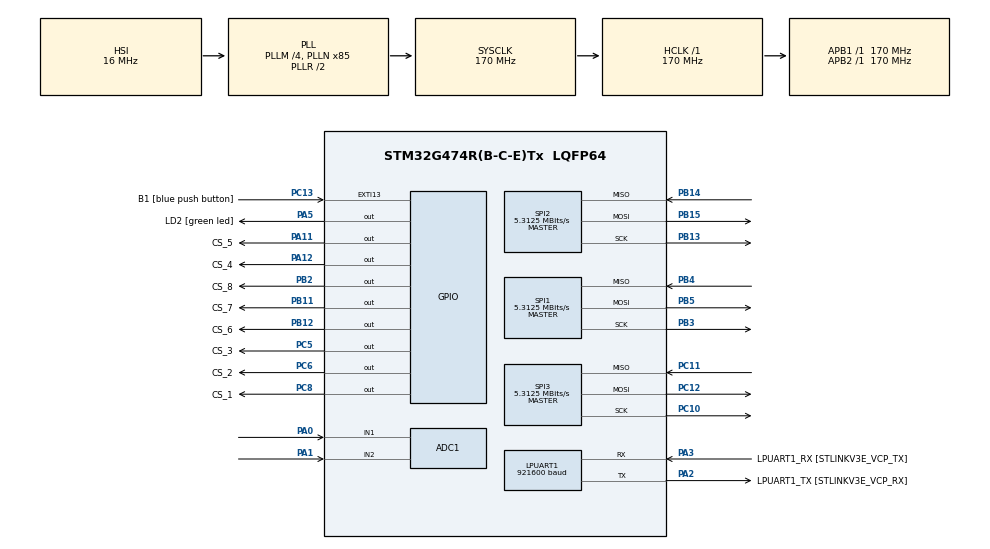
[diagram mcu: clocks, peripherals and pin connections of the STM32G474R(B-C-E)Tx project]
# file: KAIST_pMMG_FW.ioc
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ADC1.Channel-0\#ChannelRegularConversion=ADC_CHANNEL_1
ADC1.Channel-1\#ChannelRegularConversion=ADC_CHANNEL_2
ADC1.ClockPrescaler=ADC_CLOCK_ASYNC_DIV4
ADC1.ContinuousConvMode=ENABLE
ADC1.DMAContinuousRequests=ENABLE
ADC1.EOCSelection=ADC_EOC_SEQ_CONV
ADC1.NbrOfConversion=2
ADC1.NbrOfConversionFlag=1
ADC1.OffsetNumber-0\#ChannelRegularConversion=ADC_OFFSET_NONE
ADC1.OffsetNumber-1\#ChannelRegularConversion=ADC_OFFSET_NONE
ADC1.Rank-0\#ChannelRegularConversion=1
ADC1.Rank-1\#ChannelRegularConversion=2
ADC1.SamplingTime-0\#ChannelRegularConversion=ADC_SAMPLETIME_92CYCLES_5
ADC1.SamplingTime-1\#ChannelRegularConversion=ADC_SAMPLETIME_92CYCLES_5
ADC1.master=1
Dma.ADC1.0.Direction=DMA_PERIPH_TO_MEMORY
Dma.ADC1.0.EventEnable=DISABLE
Dma.ADC1.0.Instance=DMA1_Channel1
Dma.ADC1.0.MemDataAlignment=DMA_MDATAALIGN_HALFWORD
Dma.ADC1.0.MemInc=DMA_MINC_ENABLE
Dma.ADC1.0.Mode=DMA_CIRCULAR
Dma.ADC1.0.PeriphDataAlignment=DMA_PDATAALIGN_HALFWORD
Dma.ADC1.0.PeriphInc=DMA_PINC_DISABLE
Dma.ADC1.0.Polarity=HAL_DMAMUX_REQ_GEN_RISING
Dma.ADC1.0.Priority=DMA_PRIORITY_LOW
Dma.ADC1.0.RequestNumber=1
Dma.ADC1.0.SignalID=NONE
Dma.ADC1.0.SyncEnable=DISABLE
Dma.ADC1.0.SyncPolarity=HAL_DMAMUX_SYNC_NO_EVENT
Dma.ADC1.0.SyncRequestNumber=1
Dma.ADC1.0.SyncSignalID=NONE
Dma.LPUART1_TX.1.Direction=DMA_MEMORY_TO_PERIPH
Dma.LPUART1_TX.1.EventEnable=DISABLE
Dma.LPUART1_TX.1.Instance=DMA1_Channel2
Dma.LPUART1_TX.1.MemDataAlignment=DMA_MDATAALIGN_BYTE
Dma.LPUART1_TX.1.MemInc=DMA_MINC_ENABLE
Dma.LPUART1_TX.1.Mode=DMA_NORMAL
Dma.LPUART1_TX.1.PeriphDataAlignment=DMA_PDATAALIGN_BYTE
Dma.LPUART1_TX.1.PeriphInc=DMA_PINC_DISABLE
Dma.LPUART1_TX.1.Polarity=HAL_DMAMUX_REQ_GEN_RISING
Dma.LPUART1_TX.1.Priority=DMA_PRIORITY_LOW
Dma.LPUART1_TX.1.RequestNumber=1
Dma.LPUART1_TX.1.SignalID=NONE
Dma.LPUART1_TX.1.SyncEnable=DISABLE
Dma.LPUART1_TX.1.SyncPolarity=HAL_DMAMUX_SYNC_NO_EVENT
Dma.LPUART1_TX.1.SyncRequestNumber=1
Dma.LPUART1_TX.1.SyncSignalID=NONE
Dma.Request0=ADC1
Dma.Request1=LPUART1_TX
LPUART1.BaudRate=921600
LPUART1.FIFOMode=UART_FIFOMODE_DISABLE
LPUART1.Mode=UART_MODE_TX
LPUART1.WordLength=UART_WORDLENGTH_8B
Mcu.Family=STM32G4
Mcu.Name=STM32G474R(B-C-E)Tx
Mcu.Package=LQFP64
NVIC.DMA1_Channel1_IRQn=true\:0\:0\:false\:false\:true\:false\:true\:true
NVIC.DMA1_Channel2_IRQn=true\:0\:0\:false\:false\:true\:false\:true\:true
NVIC.EXTI15_10_IRQn=true\:0\:0\:false\:false\:true\:true\:true\:true
NVIC.LPUART1_IRQn=true\:0\:0\:false\:false\:true\:true\:true\:true
NVIC.PriorityGroup=NVIC_PRIORITYGROUP_4
NVIC.SPI1_IRQn=true\:0\:0\:false\:false\:true\:true\:true\:true
NVIC.SPI2_IRQn=true\:0\:0\:false\:false\:true\:true\:true\:true
NVIC.SPI3_IRQn=true\:0\:0\:false\:false\:true\:true\:true\:true
NVIC.TIM3_IRQn=true\:0\:0\:false\:false\:true\:true\:true\:true
PA0.Mode=IN1-Single-Ended
PA0.Signal=ADC1_IN1
PA1.Mode=IN2-Single-Ended
PA1.Signal=ADC1_IN2
PA11.GPIO_Label=CS_5
PA11.GPIO_PuPd=GPIO_PULLUP
PA11.GPIO_Speed=GPIO_SPEED_FREQ_HIGH
PA11.PinState=GPIO_PIN_SET
PA11.Signal=GPIO_Output
PA12.GPIO_Label=CS_4
PA12.GPIO_PuPd=GPIO_PULLUP
PA12.GPIO_Speed=GPIO_SPEED_FREQ_HIGH
PA12.PinState=GPIO_PIN_SET
PA12.Signal=GPIO_Output
PA13.GPIO_Label=T_SWDIO
PA13.Mode=Serial_Wire
PA13.Signal=SYS_JTMS-SWDIO
PA14.GPIO_Label=T_SWCLK
PA14.Mode=Serial_Wire
PA14.Signal=SYS_JTCK-SWCLK
PA2.GPIO_Label=LPUART1_TX [STLINKV3E_VCP_RX]
PA2.GPIO_Speed=GPIO_SPEED_FREQ_VERY_HIGH
PA2.Mode=Asynchronous
PA2.Signal=LPUART1_TX
PA3.GPIO_Label=LPUART1_RX [STLINKV3E_VCP_TX]
PA3.Mode=Asynchronous
PA3.Signal=LPUART1_RX
PA5.GPIO_Label=LD2 [green led]
PA5.Signal=GPIO_Output
PB11.GPIO_Label=CS_7
PB11.GPIO_PuPd=GPIO_PULLUP
PB11.GPIO_Speed=GPIO_SPEED_FREQ_HIGH
PB11.PinState=GPIO_PIN_SET
PB11.Signal=GPIO_Output
PB12.GPIO_Label=CS_6
PB12.GPIO_PuPd=GPIO_PULLUP
PB12.GPIO_Speed=GPIO_SPEED_FREQ_HIGH
PB12.PinState=GPIO_PIN_SET
PB12.Signal=GPIO_Output
PB13.Mode=Full_Duplex_Master
PB13.Signal=SPI2_SCK
PB14.Mode=Full_Duplex_Master
PB14.Signal=SPI2_MISO
PB15.Mode=Full_Duplex_Master
PB15.Signal=SPI2_MOSI
PB2.GPIO_Label=CS_8
PB2.GPIO_PuPd=GPIO_PULLUP
PB2.GPIO_Speed=GPIO_SPEED_FREQ_HIGH
PB2.PinState=GPIO_PIN_SET
PB2.Signal=GPIO_Output
PB3.Mode=Full_Duplex_Master
PB3.Signal=SPI1_SCK
PB4.Mode=Full_Duplex_Master
PB4.Signal=SPI1_MISO
PB5.Mode=Full_Duplex_Master
PB5.Signal=SPI1_MOSI
PC10.Mode=Full_Duplex_Master
PC10.Signal=SPI3_SCK
PC11.Mode=Full_Duplex_Master
PC11.Signal=SPI3_MISO
PC12.Mode=Full_Duplex_Master
PC12.Signal=SPI3_MOSI
PC13.GPIO_Label=B1 [blue push button]
PC13.Signal=GPXTI13
PC14-OSC32_IN.Mode=LSE-External-Oscillator
PC14-OSC32_IN.Signal=RCC_OSC32_IN
PC15-OSC32_OUT.Mode=LSE-External-Oscillator
PC15-OSC32_OUT.Signal=RCC_OSC32_OUT
PC5.GPIO_Label=CS_3
PC5.GPIO_PuPd=GPIO_PULLUP
PC5.GPIO_Speed=GPIO_SPEED_FREQ_HIGH
PC5.PinState=GPIO_PIN_SET
PC5.Signal=GPIO_Output
PC6.GPIO_Label=CS_2
PC6.GPIO_PuPd=GPIO_PULLUP
PC6.GPIO_Speed=GPIO_SPEED_FREQ_HIGH
PC6.PinState=GPIO_PIN_SET
PC6.Signal=GPIO_Output
PC8.GPIO_Label=CS_1
PC8.GPIO_PuPd=GPIO_PULLUP
PC8.GPIO_Speed=GPIO_SPEED_FREQ_HIGH
PC8.PinState=GPIO_PIN_SET
PC8.Signal=GPIO_Output
PF0-OSC_IN.Mode=HSE-External-Oscillator
PF0-OSC_IN.Signal=RCC_OSC_IN
PF1-OSC_OUT.Mode=HSE-External-Oscillator
PF1-OSC_OUT.Signal=RCC_OSC_OUT
ProjectManager.HeapSize=0x200
ProjectManager.StackSize=0x400
ProjectManager.TargetToolchain=STM32CubeIDE
RCC.ADC12Freq_Value=170000000
RCC.ADC345Freq_Value=170000000
RCC.AHBFreq_Value=170000000
RCC.APB1Freq_Value=170000000
RCC.APB1TimFreq_Value=170000000
RCC.APB2Freq_Value=170000000
RCC.APB2TimFreq_Value=170000000
RCC.CortexFreq_Value=170000000
RCC.EXTERNAL_CLOCK_VALUE=12288000
RCC.HCLKFreq_Value=170000000
RCC.HSE_VALUE=24000000
RCC.HSI48_VALUE=48000000
RCC.HSI_VALUE=16000000
RCC.PLLM=RCC_PLLM_DIV4
RCC.PLLN=85
RCC.RTCClockSelection=RCC_RTCCLKSOURCE_LSE
RCC.SYSCLKFreq_VALUE=170000000
RCC.SYSCLKSource=RCC_SYSCLKSOURCE_PLLCLK
RCC.USBFreq_Value=170000000
RCC.VCOOutputFreq_Value=340000000
SPI1.BaudRatePrescaler=SPI_BAUDRATEPRESCALER_32
SPI1.CalculateBaudRate=5.3125 MBits/s
SPI1.DataSize=SPI_DATASIZE_8BIT
SPI1.Direction=SPI_DIRECTION_2LINES
SPI1.Mode=SPI_MODE_MASTER
SPI1.VirtualType=VM_MASTER
SPI2.BaudRatePrescaler=SPI_BAUDRATEPRESCALER_32
SPI2.CalculateBaudRate=5.3125 MBits/s
SPI2.DataSize=SPI_DATASIZE_8BIT
SPI2.Direction=SPI_DIRECTION_2LINES
SPI2.Mode=SPI_MODE_MASTER
SPI2.VirtualType=VM_MASTER
SPI3.BaudRatePrescaler=SPI_BAUDRATEPRESCALER_32
SPI3.CalculateBaudRate=5.3125 MBits/s
SPI3.DataSize=SPI_DATASIZE_8BIT
SPI3.Direction=SPI_DIRECTION_2LINES
SPI3.Mode=SPI_MODE_MASTER
SPI3.VirtualType=VM_MASTER
TIM3.AutoReloadPreload=TIM_AUTORELOAD_PRELOAD_ENABLE
TIM3.PeriodNoDither=5000-1
TIM3.Prescaler=170-1
VP_SYS_VS_DBSignals.Mode=DisableDeadBatterySignals
VP_TIM3_VS_ClockSourceINT.Mode=Internal
board=NUCLEO-G474RE

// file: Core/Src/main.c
/* USER CODE BEGIN Header */
/**
  ******************************************************************************
  * @file           : main.c
  * @brief          : Main program body
  ******************************************************************************
  * @attention
  *
  * Copyright (c) 2024 STMicroelectronics.
  * All rights reserved.
  *
  * This software is licensed under terms that can be found in the LICENSE file
  * in the root directory of this software component.
  * If no LICENSE file comes with this software, it is provided AS-IS.
  *
  ******************************************************************************
  */
/* USER CODE END Header */
#include "main.h"
#include "adc.h"
#include "dma.h"
#include "usart.h"
#include "spi.h"
#include "tim.h"
#include "gpio.h"

/* USER CODE BEGIN Includes */
#include <stdio.h>
#include <string.h>

#include "pMMG.h"
/* USER CODE END Includes */

/* USER CODE BEGIN PTD */
typedef struct _pMMG_pressure_t {
	double pMMG1_press;
	double pMMG2_press;
	double pMMG3_press;
	double pMMG4_press;
	double pMMG5_press;
	double pMMG6_press;
	double pMMG7_press;
	double pMMG8_press;
} pMMG_pressure_t;

typedef struct _pMMG_temperature_t {
	double pMMG1_temp;
	double pMMG2_temp;
	double pMMG3_temp;
	double pMMG4_temp;
	double pMMG5_temp;
	double pMMG6_temp;
	double pMMG7_temp;
	double pMMG8_temp;
} pMMG_temperature_t;

typedef struct _pMMG_err_t {
	uint32_t err1;
	uint32_t err2;
	uint32_t err3;
	uint32_t err4;
	uint32_t err5;
	uint32_t err6;
	uint32_t err7;
	uint32_t err8;
	uint32_t totalErr;
} pMMG_err_t;

typedef struct _pMMG_t {
	pMMG_pressure_t pMMG_press;
	pMMG_temperature_t pMMG_temp;
	pMMG_err_t pMMG_err;
} pMMG_t;

/* USER CODE END PTD */

/* USER CODE BEGIN PV */

/* SPI1 port */
pMMG_Obj_t pMMGObj1;
pMMG_Obj_t pMMGObj2;
pMMG_Obj_t pMMGObj3;
uint8_t state1 = 0;
uint8_t state2 = 0;
uint8_t state3 = 0;

/* SPI2 port */
pMMG_Obj_t pMMGObj4;
pMMG_Obj_t pMMGObj5;
pMMG_Obj_t pMMGObj6;
uint8_t state4 = 0;
uint8_t state5 = 0;
uint8_t state6 = 0;

/* SPI3 port */
pMMG_Obj_t pMMGObj7;
pMMG_Obj_t pMMGObj8;
uint8_t state7 = 0;
uint8_t state8 = 0;

/* Total pMMG Obj */
pMMG_t totalpMMG;

/* FSR DMA memory */
uint16_t FSRvalue[2] = {0};		// 0: PA0, 1: PA1
uint16_t FSR_L = 0; 			// 0: PA0
uint16_t FSR_R = 0;				// 1: PA1

/* For UART Transmit */
uint8_t uartTxBuf[100];
uint8_t uartBufSize = 0;
char splitString[2] = ",";
char newLine[2] = "\n";
char strBuf_8bit[4];
char strBuf_12bit[5];
char strBuf_16bit[6];
char strBuf_32bit[11];
char uartTxBufChar[100] = "";

uint32_t startTick = 0;
uint32_t endTick = 0;
uint32_t codeTimeTick = 0;
float codeTime = 0;			// usec
float totalCodeTime = 0; 	// sec

uint32_t interruptCnt = 0;
uint8_t interruptPeriod = 5; 	// Change with IOC file, [ms]

uint8_t uartUpdate = 0;

/* For Debugging */
uint32_t uartStart = 0;
uint32_t uartEnd = 0;
uint32_t timEnd = 0;

/* For GPIO EXTI */
uint8_t GPIO_EXTI_FLAG = 0;

/* USER CODE END PV */

void SystemClock_Config(void);

int main(void)
{

  /* MCU Configuration--------------------------------------------------------*/

  /* Reset of all peripherals, Initializes the Flash interface and the Systick. */
  HAL_Init();

  /* Configure the system clock */
  SystemClock_Config();

  /* Initialize all configured peripherals */
  MX_GPIO_Init();
  MX_DMA_Init();
  MX_LPUART1_UART_Init();
  MX_TIM3_Init();
  MX_SPI3_Init();
  MX_SPI1_Init();
  MX_SPI2_Init();
  MX_ADC1_Init();
  /* USER CODE BEGIN 2 */

  CoreDebug->DEMCR &= ~CoreDebug_DEMCR_TRCENA_Msk;
  CoreDebug->DEMCR |= CoreDebug_DEMCR_TRCENA_Msk;
  DWT->CTRL &= ~DWT_CTRL_CYCCNTENA_Msk;
  DWT->CTRL |= DWT_CTRL_CYCCNTENA_Msk;
  DWT->CYCCNT = 0;

  /* ------------------ Extended G474RE Board Version ------------------ */
  state1 = pMMG_Init(&pMMGObj1, &hspi1, GPIOC, GPIO_PIN_8);
  state2 = pMMG_Init(&pMMGObj2, &hspi1, GPIOC, GPIO_PIN_6);
  state3 = pMMG_Init(&pMMGObj3, &hspi1, GPIOC, GPIO_PIN_5);
  state4 = pMMG_Init(&pMMGObj4, &hspi2, GPIOA, GPIO_PIN_12);
  state5 = pMMG_Init(&pMMGObj5, &hspi2, GPIOA, GPIO_PIN_11);
  state6 = pMMG_Init(&pMMGObj6, &hspi2, GPIOB, GPIO_PIN_12);
  state7 = pMMG_Init(&pMMGObj7, &hspi3, GPIOB, GPIO_PIN_11);
  state8 = pMMG_Init(&pMMGObj8, &hspi3, GPIOB, GPIO_PIN_2);

  /* ---------------------- Start FSR ADC read ------------------------- */
  HAL_ADCEx_Calibration_Start(&hadc1, ADC_SINGLE_ENDED);
  HAL_ADC_Start_DMA(&hadc1, (uint32_t*)FSRvalue, 2);

  /* If you use Timer Interrupt (EXTI callback is USED) */
//  HAL_TIM_Base_Start_IT(&htim3);

  /* USER CODE END 2 */

  /* Infinite loop */
  /* USER CODE BEGIN WHILE */
  while (1)
  {
	  if (uartUpdate == 1) {
		  HAL_UART_Transmit_DMA(&hlpuart1, uartTxBuf, uartBufSize);
		  uartUpdate = 0;
	  }
    /* USER CODE END WHILE */

  }
}

void SystemClock_Config(void)
{
  RCC_OscInitTypeDef RCC_OscInitStruct = {0};
  RCC_ClkInitTypeDef RCC_ClkInitStruct = {0};

  /** Configure the main internal regulator output voltage
  */
  HAL_PWREx_ControlVoltageScaling(PWR_REGULATOR_VOLTAGE_SCALE1_BOOST);

  /** Initializes the RCC Oscillators according to the specified parameters
  * in the RCC_OscInitTypeDef structure.
  */
  RCC_OscInitStruct.OscillatorType = RCC_OSCILLATORTYPE_HSI;
  RCC_OscInitStruct.HSIState = RCC_HSI_ON;
  RCC_OscInitStruct.HSICalibrationValue = RCC_HSICALIBRATION_DEFAULT;
  RCC_OscInitStruct.PLL.PLLState = RCC_PLL_ON;
  RCC_OscInitStruct.PLL.PLLSource = RCC_PLLSOURCE_HSI;
  RCC_OscInitStruct.PLL.PLLM = RCC_PLLM_DIV4;
  RCC_OscInitStruct.PLL.PLLN = 85;
  RCC_OscInitStruct.PLL.PLLP = RCC_PLLP_DIV2;
  RCC_OscInitStruct.PLL.PLLQ = RCC_PLLQ_DIV2;
  RCC_OscInitStruct.PLL.PLLR = RCC_PLLR_DIV2;
  if (HAL_RCC_OscConfig(&RCC_OscInitStruct) != HAL_OK)
  {
    Error_Handler();
  }

  /** Initializes the CPU, AHB and APB buses clocks
  */
  RCC_ClkInitStruct.ClockType = RCC_CLOCKTYPE_HCLK|RCC_CLOCKTYPE_SYSCLK
                              |RCC_CLOCKTYPE_PCLK1|RCC_CLOCKTYPE_PCLK2;
  RCC_ClkInitStruct.SYSCLKSource = RCC_SYSCLKSOURCE_PLLCLK;
  RCC_ClkInitStruct.AHBCLKDivider = RCC_SYSCLK_DIV1;
  RCC_ClkInitStruct.APB1CLKDivider = RCC_HCLK_DIV1;
  RCC_ClkInitStruct.APB2CLKDivider = RCC_HCLK_DIV1;

  if (HAL_RCC_ClockConfig(&RCC_ClkInitStruct, FLASH_LATENCY_4) != HAL_OK)
  {
    Error_Handler();
  }
}

/* USER CODE BEGIN 4 */
void HAL_TIM_PeriodElapsedCallback(TIM_HandleTypeDef *htim) {
	if (htim == &htim3) {
		timEnd = (DWT->CYCCNT - startTick) / 170;

		/* Time check start */
		startTick = DWT->CYCCNT;

		/* Get pMMG Data: 8-pMMG measurement with Extended G474RE Board by 3-phases [ 4.22ms = (1.220ms + 3*70us)*2 + (1.220ms + 2*70us) ] */
		pMMG_Update_multiple_3(&pMMGObj1, &pMMGObj4, &pMMGObj7);
		pMMG_Update_multiple_3(&pMMGObj2, &pMMGObj5, &pMMGObj8);
		pMMG_Update_multiple_2(&pMMGObj3, &pMMGObj6);

		// Mapping //
		totalpMMG.pMMG_press.pMMG1_press = pMMGObj1.pMMGData.pressureKPa;
		totalpMMG.pMMG_press.pMMG2_press = pMMGObj2.pMMGData.pressureKPa;
		totalpMMG.pMMG_press.pMMG3_press = pMMGObj3.pMMGData.pressureKPa;
		totalpMMG.pMMG_press.pMMG4_press = pMMGObj4.pMMGData.pressureKPa;
		totalpMMG.pMMG_press.pMMG5_press = pMMGObj5.pMMGData.pressureKPa;
		totalpMMG.pMMG_press.pMMG6_press = pMMGObj6.pMMGData.pressureKPa;
		totalpMMG.pMMG_press.pMMG7_press = pMMGObj7.pMMGData.pressureKPa;
		totalpMMG.pMMG_press.pMMG8_press = pMMGObj8.pMMGData.pressureKPa;

		totalpMMG.pMMG_temp.pMMG1_temp = pMMGObj1.pMMGData.temperatureC;
		totalpMMG.pMMG_temp.pMMG2_temp = pMMGObj2.pMMGData.temperatureC;
		totalpMMG.pMMG_temp.pMMG3_temp = pMMGObj3.pMMGData.temperatureC;
		totalpMMG.pMMG_temp.pMMG4_temp = pMMGObj4.pMMGData.temperatureC;
		totalpMMG.pMMG_temp.pMMG5_temp = pMMGObj5.pMMGData.temperatureC;
		totalpMMG.pMMG_temp.pMMG6_temp = pMMGObj6.pMMGData.temperatureC;
		totalpMMG.pMMG_temp.pMMG7_temp = pMMGObj7.pMMGData.temperatureC;
		totalpMMG.pMMG_temp.pMMG8_temp = pMMGObj8.pMMGData.temperatureC;
		/* ------------------------------------------------------------------------------------------------------------------------------- */

		// Error Counting //
		if (pMMGObj1.pMMGData.pressureKPa > 200 || pMMGObj1.pMMGData.pressureKPa < 80) {
			totalpMMG.pMMG_err.err1++;
			totalpMMG.pMMG_err.totalErr++;
		}
		if (pMMGObj2.pMMGData.pressureKPa > 200 || pMMGObj2.pMMGData.pressureKPa < 80) {
			totalpMMG.pMMG_err.err2++;
			totalpMMG.pMMG_err.totalErr++;
		}
		if (pMMGObj3.pMMGData.pressureKPa > 200 || pMMGObj3.pMMGData.pressureKPa < 80) {
			totalpMMG.pMMG_err.err3++;
			totalpMMG.pMMG_err.totalErr++;
		}
		if (pMMGObj4.pMMGData.pressureKPa > 200 || pMMGObj4.pMMGData.pressureKPa < 80) {
			totalpMMG.pMMG_err.err4++;
			totalpMMG.pMMG_err.totalErr++;
		}
		if (pMMGObj5.pMMGData.pressureKPa > 200 || pMMGObj5.pMMGData.pressureKPa < 80) {
			totalpMMG.pMMG_err.err5++;
			totalpMMG.pMMG_err.totalErr++;
		}
		if (pMMGObj6.pMMGData.pressureKPa > 200 || pMMGObj6.pMMGData.pressureKPa < 80) {
			totalpMMG.pMMG_err.err6++;
			totalpMMG.pMMG_err.totalErr++;
		}
		if (pMMGObj7.pMMGData.pressureKPa > 200 || pMMGObj7.pMMGData.pressureKPa < 80) {
			totalpMMG.pMMG_err.err7++;
			totalpMMG.pMMG_err.totalErr++;
		}
		if (pMMGObj8.pMMGData.pressureKPa > 200 || pMMGObj8.pMMGData.pressureKPa < 80) {
			totalpMMG.pMMG_err.err8++;
			totalpMMG.pMMG_err.totalErr++;
		}
		/* ------------------------------------------------------------------------------------------------------------------------------- */

		/* Check FSR values */
		FSR_L = FSRvalue[0];
		FSR_R = FSRvalue[1];
		/* ------------------------------------------------------------------------------------------------------------------------------- */

		/* Assign the Data to send */
		uint32_t data1 = interruptCnt;
		float data2 = (float)totalpMMG.pMMG_press.pMMG1_press;
		float data3 = (float)totalpMMG.pMMG_press.pMMG2_press;
		float data4 = (float)totalpMMG.pMMG_press.pMMG3_press;
		float data5 = (float)totalpMMG.pMMG_press.pMMG4_press;
		float data6 = (float)totalpMMG.pMMG_press.pMMG5_press;
		float data7 = (float)totalpMMG.pMMG_press.pMMG6_press;
		float data8 = (float)totalpMMG.pMMG_press.pMMG7_press;
		float data9 = (float)totalpMMG.pMMG_press.pMMG8_press;
		uint16_t data10 = FSR_L;
		uint16_t data11 = FSR_R;

		/* Append 1st component to sent */
		sprintf(uartTxBufChar, "%lu", data1);

		/* Append 2nd component to sent */
		strcat(uartTxBufChar, splitString);
		memset(strBuf_32bit, '\0', sizeof(strBuf_32bit));
		sprintf(strBuf_32bit, "%.2f", data2);
		strcat(uartTxBufChar, strBuf_32bit);

		/* Append 3rd component to sent */
		strcat(uartTxBufChar, splitString);
		memset(strBuf_32bit, '\0', sizeof(strBuf_32bit));
		sprintf(strBuf_32bit, "%.2f", data3);
		strcat(uartTxBufChar, strBuf_32bit);

		/* Append 4th component to sent */
		strcat(uartTxBufChar, splitString);
		memset(strBuf_32bit, '\0', sizeof(strBuf_32bit));
		sprintf(strBuf_32bit, "%.2f", data4);
		strcat(uartTxBufChar, strBuf_32bit);

		/* Append 5th component to sent */
		strcat(uartTxBufChar, splitString);
		memset(strBuf_32bit, '\0', sizeof(strBuf_32bit));
		sprintf(strBuf_32bit, "%.2f", data5);
		strcat(uartTxBufChar, strBuf_32bit);

		/* Append 6th component to sent */
		strcat(uartTxBufChar, splitString);
		memset(strBuf_32bit, '\0', sizeof(strBuf_32bit));
		sprintf(strBuf_32bit, "%.2f", data6);
		strcat(uartTxBufChar, strBuf_32bit);

		/* Append 7th component to sent */
		strcat(uartTxBufChar, splitString);
		memset(strBuf_32bit, '\0', sizeof(strBuf_32bit));
		sprintf(strBuf_32bit, "%.2f", data7);
		strcat(uartTxBufChar, strBuf_32bit);

		/* Append 8th component to sent */
		strcat(uartTxBufChar, splitString);
		memset(strBuf_32bit, '\0', sizeof(strBuf_32bit));
		sprintf(strBuf_32bit, "%.2f", data8);
		strcat(uartTxBufChar, strBuf_32bit);

		/* Append 9th component to sent */
		strcat(uartTxBufChar, splitString);
		memset(strBuf_32bit, '\0', sizeof(strBuf_32bit));
		sprintf(strBuf_32bit, "%.2f", data9);
		strcat(uartTxBufChar, strBuf_32bit);

		/* Append 10th component to sent */
		strcat(uartTxBufChar, splitString);
		memset(strBuf_16bit, '\0', sizeof(strBuf_16bit));
		sprintf(strBuf_16bit, "%u", data10);
		strcat(uartTxBufChar, strBuf_16bit);

		/* Append 11th component to sent */
		strcat(uartTxBufChar, splitString);
		memset(strBuf_16bit, '\0', sizeof(strBuf_16bit));
		sprintf(strBuf_16bit, "%u", data11);
		strcat(uartTxBufChar, strBuf_16bit);

		/* Add "\n" in the end of data */
		strcat(uartTxBufChar, newLine);

		sprintf((char*)uartTxBuf, uartTxBufChar);
		uartBufSize = strlen(uartTxBufChar);

		uartUpdate = 1;

		/* ------------------------------------------------------------------------------------------------------------------------------- */

		/* Time check end */
		interruptCnt = interruptCnt + interruptPeriod;

		endTick = DWT->CYCCNT;
		codeTimeTick = endTick - startTick;
		// Roll-over for overflow
		if (codeTimeTick < 0) {
			codeTimeTick = (4294967295 - startTick) + endTick + 1;
		}
		codeTime = codeTimeTick / sysMHz;
		/* ------------------------------------------------------------------------------------------------------------------------------- */
	}
}

void HAL_GPIO_EXTI_Callback(uint16_t GPIO_Pin) {
	if (GPIO_Pin == GPIO_PIN_13 && GPIO_EXTI_FLAG == 0) {
		interruptCnt = 0;
		GPIO_EXTI_FLAG = 1;

		HAL_TIM_Base_Start_IT(&htim3);
	}

	else if (GPIO_Pin == GPIO_PIN_13 && GPIO_EXTI_FLAG == 1) {
		interruptCnt = 0;
		GPIO_EXTI_FLAG = 0;

		HAL_TIM_Base_Stop_IT(&htim3);
	}
}

void HAL_UART_TxCpltCallback(UART_HandleTypeDef *huart) {
	if (huart == &hlpuart1) {
		uartEnd = (DWT->CYCCNT - uartStart) / 170;
		uartStart = DWT->CYCCNT;
	}
}

/* USER CODE END 4 */

void Error_Handler(void)
{
  __disable_irq();
  while (1)
  {
  }
}
